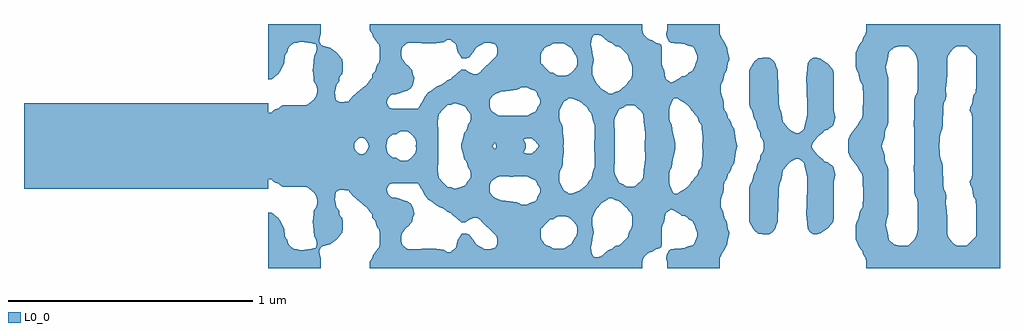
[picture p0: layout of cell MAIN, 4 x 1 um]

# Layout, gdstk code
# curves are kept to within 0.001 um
import gdstk
lib = gdstk.Library(unit=1e-6, precision=1e-09)
def R(c, l, rs):  # rectangles x0, y0, x1, y1
    for r in rs: c.add(gdstk.rectangle(r[:2], r[2:], *l))
def P(c, l, *ps):  # polygons
    for p in ps: c.add(gdstk.Polygon(p, *l))
L0_0 = (0, 0)

main_y = lib.new_cell('MAIN_Y')
R(main_y, L0_0, [(0,0,1,0.175)])
P(main_y, L0_0, [(3.231,0.01),(3.255,0.04),(3.28,0.062),(3.295,0.067),(3.316,0.085),(3.325,0.115),(3.319,0.145),(3.318,0.16),(3.317,0.31),(3.292,0.34),(3.265,0.357),(3.25,0.362),(3.235,0.362),(3.22,0.352),(3.213,0.34),(3.206,0.28),(3.211,0.175),(3.211,0.13),(3.209,0.115),(3.199,0.085),(3.197,0.07),(3.19,0.063),(3.175,0.053),(3.16,0.055),(3.145,0.062),(3.135,0.07),(3.109,0.1),(3.106,0.13),(3.096,0.16),(3.094,0.175),(3.089,0.31),(3.078,0.34),(3.07,0.35),(3.055,0.361),(3.04,0.363),(3.01,0.359),(2.988,0.34),(2.973,0.31),(2.973,0.175),(2.974,0.16),(2.984,0.145),(2.99,0.115),(3.001,0.1),(3.003,0.085),(3.008,0.07),(3.017,0.055),(3.018,0.04),(3.028,0.025),(3.032,0.01),(3.032,0),(3.229,0)],
  [(4,0.5),(3.452,0.5),(3.452,0.475),(3.45,0.46),(3.439,0.445),(3.436,0.43),(3.423,0.415),(3.418,0.4),(3.408,0.385),(3.409,0.325),(3.413,0.31),(3.421,0.295),(3.427,0.265),(3.437,0.25),(3.44,0.205),(3.438,0.13),(3.436,0.115),(3.424,0.1),(3.417,0.085),(3.392,0.055),(3.385,0.042),(3.379,0.025),(3.378,0),(3.516,0),(3.517,0.01),(3.524,0.025),(3.531,0.07),(3.539,0.085),(3.542,0.115),(3.543,0.25),(3.541,0.28),(3.533,0.31),(3.532,0.325),(3.545,0.385),(3.565,0.403),(3.58,0.407),(3.595,0.408),(3.625,0.407),(3.648,0.385),(3.657,0.37),(3.661,0.355),(3.663,0.235),(3.661,0.22),(3.655,0.208),(3.652,0.205),(3.648,0.19),(3.648,0),(3.752,0),(3.754,0.04),(3.764,0.07),(3.766,0.085),(3.768,0.16),(3.77,0.175),(3.777,0.19),(3.779,0.205),(3.777,0.235),(3.781,0.265),(3.783,0.295),(3.783,0.355),(3.786,0.37),(3.805,0.395),(3.82,0.407),(3.835,0.408),(3.865,0.406),(3.889,0.385),(3.902,0.37),(3.902,0.25),(3.9,0.22),(3.891,0.205),(3.886,0.175),(3.879,0.16),(3.877,0.145),(3.884,0.13),(3.887,0.115),(3.887,0),(4,0)],
  [(1.15,0.168),(1.06,0.167),(1.045,0.155),(1.03,0.151),(1.015,0.139),(1,0.137),(1,0),(1.353,0),(1.354,0.01),(1.36,0.019),(1.375,0.033),(1.39,0.033),(1.4,0.025),(1.411,0.01),(1.412,0),(1.485,0),(1.488,0.025),(1.51,0.047),(1.525,0.049),(1.54,0.058),(1.555,0.061),(1.563,0.06),(1.563,0.152),(1.51,0.153),(1.495,0.159),(1.487,0.175),(1.488,0.19),(1.495,0.199),(1.51,0.212),(1.54,0.216),(1.563,0.225),(1.563,0.34),(1.551,0.355),(1.547,0.37),(1.548,0.4),(1.563,0.416),(1.563,0.5),(1.416,0.5),(1.416,0.475),(1.427,0.46),(1.431,0.445),(1.456,0.415),(1.458,0.4),(1.458,0.37),(1.457,0.355),(1.453,0.34),(1.443,0.325),(1.441,0.31),(1.428,0.295),(1.427,0.28),(1.405,0.252),(1.39,0.241),(1.366,0.22),(1.33,0.184),(1.3,0.18),(1.285,0.183),(1.278,0.19),(1.274,0.22),(1.279,0.25),(1.292,0.265),(1.293,0.28),(1.304,0.295),(1.307,0.31),(1.307,0.34),(1.304,0.355),(1.285,0.379),(1.27,0.393),(1.255,0.403),(1.225,0.411),(1.217,0.415),(1.21,0.429),(1.212,0.445),(1.216,0.46),(1.217,0.5),(1,0.5),(1,0.272),(1.015,0.273),(1.041,0.295),(1.053,0.31),(1.067,0.34),(1.069,0.37),(1.079,0.385),(1.083,0.4),(1.09,0.409),(1.105,0.422),(1.135,0.427),(1.15,0.426),(1.18,0.422),(1.198,0.415),(1.2,0.4),(1.197,0.385),(1.189,0.37),(1.184,0.31),(1.188,0.265),(1.198,0.25),(1.202,0.235),(1.202,0.22),(1.198,0.205),(1.187,0.19),(1.165,0.171)],
  [(1.906,0.34),(1.87,0.302),(1.855,0.295),(1.84,0.297),(1.825,0.303),(1.81,0.313),(1.795,0.314),(1.78,0.303),(1.75,0.276),(1.735,0.27),(1.72,0.258),(1.69,0.242),(1.675,0.23),(1.66,0.223),(1.645,0.204),(1.62,0.16),(1.615,0.155),(1.6,0.152),(1.563,0.152),(1.563,0.06),(1.57,0.06),(1.585,0.05),(1.595,0.04),(1.606,0.025),(1.606,0),(1.698,0),(1.696,0.1),(1.699,0.13),(1.712,0.145),(1.735,0.167),(1.75,0.169),(1.765,0.176),(1.795,0.168),(1.809,0.16),(1.831,0.13),(1.829,0.1),(1.819,0.085),(1.817,0.07),(1.805,0.055),(1.799,0.025),(1.793,0.01),(1.792,0),(1.92,0),(1.93,0.013),(1.933,0.01),(1.936,0),(2.035,0),(2.035,0.123),(2.005,0.125),(1.945,0.125),(1.915,0.144),(1.908,0.16),(1.909,0.19),(1.93,0.213),(1.96,0.224),(2.02,0.23),(2.035,0.238),(2.035,0.5),(1.563,0.5),(1.563,0.416),(1.57,0.422),(1.585,0.423),(1.705,0.423),(1.72,0.426),(1.735,0.435),(1.75,0.433),(1.772,0.415),(1.773,0.4),(1.778,0.385),(1.795,0.36),(1.81,0.357),(1.825,0.364),(1.84,0.382),(1.851,0.4),(1.855,0.404),(1.885,0.422),(1.915,0.422),(1.93,0.418),(1.933,0.415),(1.94,0.4),(1.94,0.385),(1.937,0.37)],
  [(1.57,0.227),(1.583,0.235),(1.585,0.237),(1.593,0.25),(1.598,0.265),(1.599,0.28),(1.594,0.295),(1.591,0.31),(1.585,0.317),(1.578,0.325),(1.563,0.34),(1.563,0.225)],
  [(2.244,0.4),(2.263,0.37),(2.267,0.355),(2.266,0.325),(2.245,0.302),(2.23,0.291),(2.215,0.288),(2.185,0.29),(2.17,0.3),(2.155,0.303),(2.118,0.34),(2.117,0.355),(2.035,0.355),(2.035,0.238),(2.05,0.241),(2.065,0.239),(2.08,0.23),(2.095,0.226),(2.101,0.22),(2.106,0.205),(2.116,0.19),(2.116,0.175),(2.106,0.16),(2.1,0.145),(2.095,0.14),(2.08,0.135),(2.065,0.125),(2.035,0.123),(2.035,0),(2.057,0),(2.057,0.01),(2.047,0.025),(2.05,0.028),(2.065,0.032),(2.08,0.031),(2.095,0.019),(2.112,0),(2.211,0),(2.213,0.025),(2.208,0.07),(2.206,0.085),(2.197,0.1),(2.194,0.115),(2.194,0.145),(2.208,0.175),(2.215,0.183),(2.23,0.194),(2.245,0.195),(2.275,0.183),(2.288,0.175),(2.306,0.16),(2.314,0.145),(2.327,0.13),(2.328,0.115),(2.332,0.1),(2.339,0.085),(2.34,0.04),(2.337,0),(2.422,0),(2.422,0.055),(2.419,0.1),(2.421,0.115),(2.43,0.13),(2.435,0.145),(2.44,0.15),(2.455,0.156),(2.47,0.166),(2.47,0.253),(2.44,0.227),(2.41,0.215),(2.395,0.217),(2.365,0.235),(2.342,0.265),(2.329,0.295),(2.329,0.325),(2.335,0.355),(2.323,0.415),(2.324,0.43),(2.328,0.445),(2.335,0.453),(2.35,0.455),(2.365,0.452),(2.395,0.427),(2.41,0.422),(2.425,0.409),(2.44,0.406),(2.47,0.378),(2.47,0.5),(2.035,0.5),(2.035,0.355),(2.117,0.355),(2.117,0.37),(2.12,0.385),(2.14,0.407),(2.155,0.411),(2.17,0.421),(2.2,0.422),(2.215,0.42)],
  [(2.5,0.166),(2.528,0.145),(2.537,0.13),(2.539,0.1),(2.546,0.055),(2.544,0),(2.669,0),(2.667,0.025),(2.658,0.055),(2.655,0.085),(2.647,0.1),(2.644,0.115),(2.644,0.145),(2.646,0.16),(2.659,0.19),(2.665,0.195),(2.68,0.195),(2.71,0.175),(2.727,0.16),(2.748,0.13),(2.762,0.115),(2.765,0.1),(2.777,0.085),(2.782,0.04),(2.78,0),(2.924,0),(2.916,0.025),(2.911,0.07),(2.9,0.085),(2.897,0.1),(2.885,0.115),(2.882,0.13),(2.872,0.145),(2.868,0.16),(2.865,0.19),(2.856,0.22),(2.856,0.25),(2.863,0.265),(2.869,0.295),(2.881,0.31),(2.885,0.34),(2.891,0.355),(2.882,0.4),(2.867,0.43),(2.857,0.445),(2.852,0.46),(2.851,0.5),(2.636,0.5),(2.636,0.475),(2.633,0.46),(2.635,0.445),(2.642,0.43),(2.65,0.424),(2.695,0.419),(2.74,0.407),(2.747,0.4),(2.759,0.37),(2.759,0.355),(2.741,0.31),(2.725,0.3),(2.71,0.288),(2.695,0.285),(2.68,0.273),(2.665,0.265),(2.65,0.26),(2.635,0.272),(2.629,0.28),(2.624,0.31),(2.616,0.325),(2.613,0.355),(2.614,0.4),(2.611,0.415),(2.605,0.42),(2.59,0.424),(2.575,0.434),(2.56,0.438),(2.545,0.451),(2.537,0.46),(2.533,0.475),(2.533,0.5),(2.47,0.5),(2.47,0.378),(2.477,0.37),(2.478,0.355),(2.489,0.34),(2.493,0.31),(2.491,0.28),(2.47,0.253),(2.47,0.166)])

main = lib.new_cell('MAIN')
main.add(gdstk.Reference(main_y, (0,0)))
main.add(gdstk.Reference(main_y, (0,0), x_reflection=True))

lib.write_gds('MAIN.gds')
